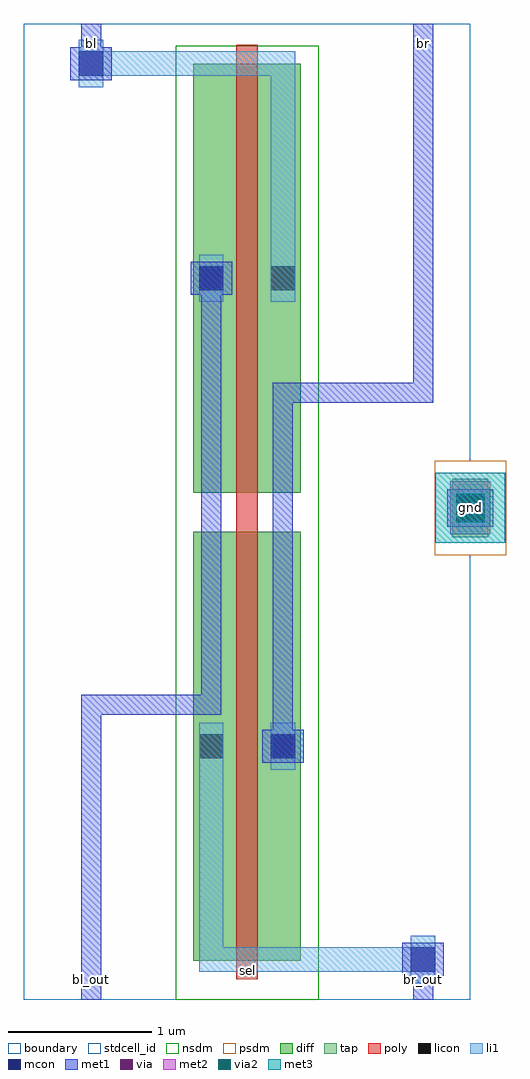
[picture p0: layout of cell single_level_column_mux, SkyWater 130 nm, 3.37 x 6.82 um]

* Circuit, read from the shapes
.subckt single_level_column_mux bl bl_out br br_out gnd sel
XM1 br sel br_out gnd sky130_fd_pr__nfet_01v8 w=3 l=0.15
XM2 bl sel bl_out gnd sky130_fd_pr__nfet_01v8 w=3 l=0.15
.ends

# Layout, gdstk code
import gdstk
lib = gdstk.Library(unit=1e-6, precision=1e-09)
def R(c, l, rs):  # rectangles x0, y0, x1, y1
    for r in rs: c.add(gdstk.rectangle(r[:2], r[2:], *l))
diff = (65, 20)
tap = (65, 44)
poly = (66, 20)
licon = (66, 44)
li1 = (67, 20)
mcon = (67, 44)
met1 = (68, 20)
via = (68, 44)
met2 = (69, 20)
via2 = (69, 44)
met3 = (70, 20)
stdcell_id = (81, 4)
nsdm = (93, 44)
psdm = (94, 20)
boundary = (235, 4)

contact_17 = lib.new_cell('contact_17')
R(contact_17, diff, [(0,0.02,0.25,0.31)])
R(contact_17, licon, [(0.04,0.08,0.21,0.25)])
R(contact_17, li1, [(0.04,0,0.21,0.33)])
R(contact_17, stdcell_id, [(-0.125,-0.105,0.375,0.435)])
R(contact_17, nsdm, [(-0.125,-0.105,0.375,0.435)])
R(contact_17, boundary, [(-0.125,-0.105,0.375,0.435)])

nmos_m1_w2_880_sli_dli = lib.new_cell('nmos_m1_w2_880_sli_dli')
R(nmos_m1_w2_880_sli_dli, diff, [(0,0,0.75,3)])
R(nmos_m1_w2_880_sli_dli, poly, [(0.3,-0.13,0.45,3.13), (0.3,-0.13,0.45,3.13)])
R(nmos_m1_w2_880_sli_dli, li1, [(0.04,1.335,0.21,1.665), (0.54,1.335,0.71,1.665)])
R(nmos_m1_w2_880_sli_dli, stdcell_id, [(-0.125,-0.13,0.875,3.13)])
R(nmos_m1_w2_880_sli_dli, nsdm, [(-0.125,-0.125,0.875,3.125)])
R(nmos_m1_w2_880_sli_dli, boundary, [(-0.125,-0.13,0.875,3.13)])
nmos_m1_w2_880_sli_dli.add(gdstk.Reference(contact_17, (0,1.335)))
nmos_m1_w2_880_sli_dli.add(gdstk.Reference(contact_17, (0.5,1.335)))
nmos_m1_w2_880_sli_dli.add(gdstk.Label('D', (0.625,1.5), layer=67, texttype=16))
nmos_m1_w2_880_sli_dli.add(gdstk.Label('S', (0.125,1.5), layer=67, texttype=16))
nmos_m1_w2_880_sli_dli.add(gdstk.Label('G', (0.375,1.5), layer=66, texttype=16))

contact_7 = lib.new_cell('contact_7')
R(contact_7, li1, [(0.06,0,0.23,0.33)])
R(contact_7, mcon, [(0.06,0.08,0.23,0.25)])
R(contact_7, met1, [(0,0.05,0.29,0.28)])
R(contact_7, stdcell_id, [(0,0,0.29,0.33)])
R(contact_7, boundary, [(0,0,0.29,0.33)])

contact_18 = lib.new_cell('contact_18')
R(contact_18, tap, [(0,0,0.25,0.41)])
R(contact_18, licon, [(0.04,0.12,0.21,0.29)])
R(contact_18, li1, [(0.04,0.04,0.21,0.37)])
R(contact_18, stdcell_id, [(-0.125,-0.125,0.375,0.535)])
R(contact_18, psdm, [(-0.125,-0.125,0.375,0.535)])
R(contact_18, boundary, [(-0.125,-0.125,0.375,0.535)])

contact_8 = lib.new_cell('contact_8')
R(contact_8, met1, [(0,0.03,0.32,0.29)])
R(contact_8, via, [(0.085,0.085,0.235,0.235)])
R(contact_8, met2, [(0.03,0,0.29,0.32)])
R(contact_8, stdcell_id, [(0,0,0.32,0.32)])
R(contact_8, boundary, [(0,0,0.32,0.32)])

contact_9 = lib.new_cell('contact_9')
R(contact_9, met2, [(0.025,0,0.305,0.37)])
R(contact_9, via2, [(0.065,0.085,0.265,0.285)])
R(contact_9, met3, [(0,0.02,0.33,0.35)])
R(contact_9, stdcell_id, [(0,0,0.33,0.37)])
R(contact_9, boundary, [(0,0,0.33,0.37)])

single_level_column_mux = lib.new_cell('single_level_column_mux')
R(single_level_column_mux, poly, [(1.485,0.14,1.635,0.27), (1.485,3.27,1.635,3.54)])
R(single_level_column_mux, li1, [(1.225,0.195,1.395,0.365), (1.31,0.195,2.79,0.365), (1.225,0.28,1.395,1.77), (1.725,5.04,1.895,6.54), (0.4,6.455,1.81,6.625), (1.725,6.455,1.895,6.625)])
R(single_level_column_mux, met1, [(0.4,0,0.54,0.28), (2.72,0,2.86,0.28), (0.4,0.28,0.54,2.06), (1.74,1.77,1.88,4.24), (0.4,1.99,0.54,2.13), (0.47,1.99,1.31,2.13), (1.24,1.99,1.38,2.13), (1.24,2.06,1.38,5.04), (1.74,4.17,1.88,4.31), (1.81,4.17,2.79,4.31), (2.72,4.17,2.86,4.31), (2.72,4.24,2.86,6.54), (0.4,6.54,0.54,6.82), (2.72,6.54,2.86,6.82)])
R(single_level_column_mux, met2, [(2.98,3.315,3.26,3.555)])
R(single_level_column_mux, met3, [(2.875,3.19,3.365,3.68)])
R(single_level_column_mux, stdcell_id, [(0,0,3.12,6.82)])
R(single_level_column_mux, nsdm, [(1.06,0,2.06,6.54)])
R(single_level_column_mux, boundary, [(0,0,3.12,6.82)])
single_level_column_mux.add(gdstk.Reference(nmos_m1_w2_880_sli_dli, (1.185,0.27)))
single_level_column_mux.add(gdstk.Reference(nmos_m1_w2_880_sli_dli, (1.185,3.54)))
single_level_column_mux.add(gdstk.Reference(contact_7, (0.325,6.375)))
single_level_column_mux.add(gdstk.Reference(contact_7, (2.645,0.115)))
single_level_column_mux.add(gdstk.Reference(contact_7, (1.165,4.875)))
single_level_column_mux.add(gdstk.Reference(contact_7, (1.665,1.605)))
single_level_column_mux.add(gdstk.Reference(contact_18, (2.995,3.23)))
single_level_column_mux.add(gdstk.Reference(contact_7, (2.975,3.27)))
single_level_column_mux.add(gdstk.Reference(contact_8, (2.96,3.275)))
single_level_column_mux.add(gdstk.Reference(contact_9, (2.955,3.25)))
single_level_column_mux.add(gdstk.Label('sel', (1.56,0.205), layer=66, texttype=16))
single_level_column_mux.add(gdstk.Label('br_out', (2.79,0.14), layer=68, texttype=16))
single_level_column_mux.add(gdstk.Label('br', (2.79,6.68), layer=68, texttype=16))
single_level_column_mux.add(gdstk.Label('bl_out', (0.47,0.14), layer=68, texttype=16))
single_level_column_mux.add(gdstk.Label('bl', (0.47,6.68), layer=68, texttype=16))
single_level_column_mux.add(gdstk.Label('gnd', (3.12,3.435), layer=70, texttype=16))

lib.write_gds('single_level_column_mux.gds')
